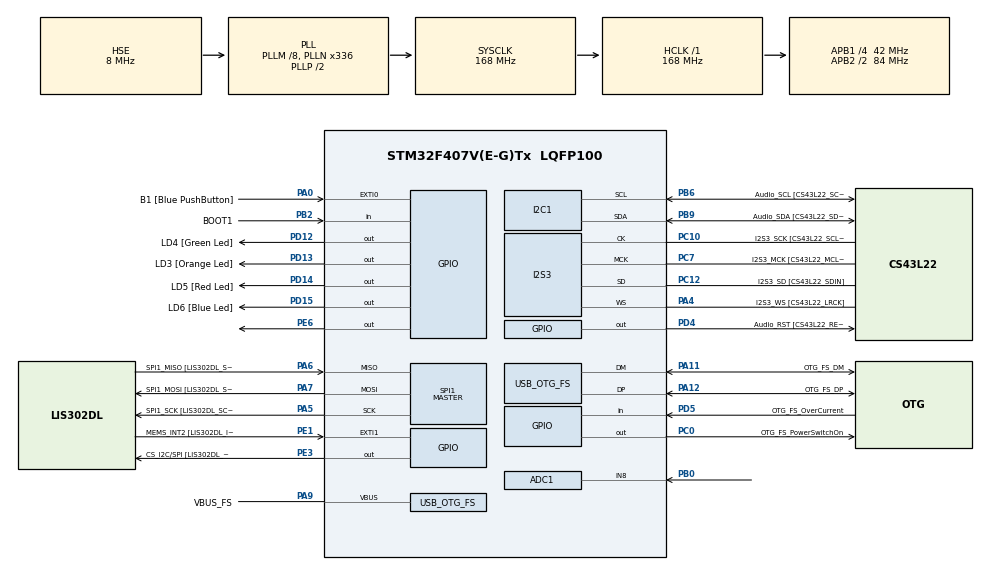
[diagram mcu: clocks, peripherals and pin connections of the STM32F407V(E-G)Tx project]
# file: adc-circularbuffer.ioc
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ADC1.Channel-0\#ChannelRegularConversion=ADC_CHANNEL_8
ADC1.Channel-1\#ChannelRegularConversion=ADC_CHANNEL_8
ADC1.ContinuousConvMode=DISABLE
ADC1.DMAContinuousRequests=ENABLE
ADC1.DiscontinuousConvMode=DISABLE
ADC1.ExternalTrigConv=ADC_EXTERNALTRIGCONV_T3_TRGO
ADC1.NbrOfConversion=2
ADC1.NbrOfConversionFlag=1
ADC1.Rank-0\#ChannelRegularConversion=1
ADC1.Rank-1\#ChannelRegularConversion=2
ADC1.SamplingTime-0\#ChannelRegularConversion=ADC_SAMPLETIME_56CYCLES
ADC1.SamplingTime-1\#ChannelRegularConversion=ADC_SAMPLETIME_56CYCLES
ADC1.ScanConvMode=ENABLE
ADC1.master=1
Dma.ADC1.0.Direction=DMA_PERIPH_TO_MEMORY
Dma.ADC1.0.FIFOMode=DMA_FIFOMODE_DISABLE
Dma.ADC1.0.Instance=DMA2_Stream0
Dma.ADC1.0.MemDataAlignment=DMA_MDATAALIGN_HALFWORD
Dma.ADC1.0.MemInc=DMA_MINC_ENABLE
Dma.ADC1.0.Mode=DMA_CIRCULAR
Dma.ADC1.0.PeriphDataAlignment=DMA_PDATAALIGN_HALFWORD
Dma.ADC1.0.PeriphInc=DMA_PINC_DISABLE
Dma.ADC1.0.Priority=DMA_PRIORITY_HIGH
Dma.Request0=ADC1
I2S3.AudioFreq-Half_Duplex_Master=I2S_AUDIOFREQ_96K
I2S3.ErrorAudioFreq=-2.34 %
I2S3.ErrorAudioFreq-Half_Duplex_Master=0.8 %
I2S3.FullDuplexMode=I2S_FULLDUPLEXMODE_DISABLE
I2S3.Instance=SPI$Index
I2S3.RealAudioFreq=93.75 KHz
I2S3.RealAudioFreq-Half_Duplex_Master=96.774 KHz
I2S3.VirtualMode=I2S_MODE_MASTER
Mcu.Family=STM32F4
Mcu.Name=STM32F407V(E-G)Tx
Mcu.Package=LQFP100
NVIC.DMA2_Stream0_IRQn=true\:0\:0\:false\:false\:true\:false\:true\:true
NVIC.OTG_FS_IRQn=true\:0\:0\:false\:false\:true\:true\:true\:true
NVIC.PriorityGroup=NVIC_PRIORITYGROUP_0
PA0-WKUP.GPIO_Label=B1 [Blue PushButton]
PA0-WKUP.GPIO_ModeDefaultEXTI=GPIO_MODE_EVT_RISING
PA0-WKUP.GPIO_PuPd=GPIO_NOPULL
PA0-WKUP.Signal=GPXTI0
PA10.GPIO_Label=OTG_FS_ID
PA10.GPIO_Mode=GPIO_MODE_AF_PP
PA10.GPIO_PuPd=GPIO_NOPULL
PA10.GPIO_Speed=GPIO_SPEED_FREQ_LOW
PA10.Signal=USB_OTG_FS_ID
PA11.GPIO_Label=OTG_FS_DM
PA11.GPIO_Mode=GPIO_MODE_AF_PP
PA11.GPIO_PuPd=GPIO_NOPULL
PA11.GPIO_Speed=GPIO_SPEED_FREQ_LOW
PA11.Mode=Host_Only
PA11.Signal=USB_OTG_FS_DM
PA12.GPIO_Label=OTG_FS_DP
PA12.GPIO_Mode=GPIO_MODE_AF_PP
PA12.GPIO_PuPd=GPIO_NOPULL
PA12.GPIO_Speed=GPIO_SPEED_FREQ_LOW
PA12.Mode=Host_Only
PA12.Signal=USB_OTG_FS_DP
PA13.GPIO_Label=SWDIO
PA13.Mode=Trace_Asynchronous_SW
PA13.Signal=SYS_JTMS-SWDIO
PA14.GPIO_Label=SWCLK
PA14.Mode=Trace_Asynchronous_SW
PA14.Signal=SYS_JTCK-SWCLK
PA4.GPIO_Label=I2S3_WS [CS43L22_LRCK]
PA4.GPIO_Mode=GPIO_MODE_AF_PP
PA4.GPIO_PuPd=GPIO_NOPULL
PA4.GPIO_Speed=GPIO_SPEED_FREQ_LOW
PA4.Mode=Half_Duplex_Master
PA4.Signal=I2S3_WS
PA5.GPIO_Label=SPI1_SCK [LIS302DL_SCL/SPC]
PA5.GPIO_Mode=GPIO_MODE_AF_PP
PA5.GPIO_PuPd=GPIO_NOPULL
PA5.GPIO_Speed=GPIO_SPEED_FREQ_LOW
PA5.Mode=Full_Duplex_Master
PA5.Signal=SPI1_SCK
PA6.GPIO_Label=SPI1_MISO [LIS302DL_SDO]
PA6.GPIO_Mode=GPIO_MODE_AF_PP
PA6.GPIO_PuPd=GPIO_NOPULL
PA6.GPIO_Speed=GPIO_SPEED_FREQ_LOW
PA6.Mode=Full_Duplex_Master
PA6.Signal=SPI1_MISO
PA7.GPIO_Label=SPI1_MOSI [LIS302DL_SDA/SDI/SDO]
PA7.GPIO_Mode=GPIO_MODE_AF_PP
PA7.GPIO_PuPd=GPIO_NOPULL
PA7.GPIO_Speed=GPIO_SPEED_FREQ_LOW
PA7.Mode=Full_Duplex_Master
PA7.Signal=SPI1_MOSI
PA9.GPIO_Label=VBUS_FS
PA9.GPIO_Mode=GPIO_MODE_INPUT
PA9.GPIO_PuPd=GPIO_NOPULL
PA9.Mode=Activate_VBUS
PA9.Signal=USB_OTG_FS_VBUS
PB0.Signal=ADCx_IN8
PB10.GPIO_Label=CLK_IN [MP45DT02_CLK]
PB10.GPIO_Mode=GPIO_MODE_AF_PP
PB10.GPIO_PuPd=GPIO_NOPULL
PB10.GPIO_Speed=GPIO_SPEED_FREQ_LOW
PB10.Signal=I2S2_CK
PB2.GPIO_Label=BOOT1
PB2.GPIO_Mode=GPIO_MODE_INPUT
PB2.GPIO_PuPd=GPIO_NOPULL
PB2.Signal=GPIO_Input
PB3.GPIO_Label=SWO
PB3.Mode=Trace_Asynchronous_SW
PB3.Signal=SYS_JTDO-SWO
PB6.GPIO_Label=Audio_SCL [CS43L22_SCL]
PB6.GPIO_Mode=GPIO_MODE_AF_OD
PB6.GPIO_Pu=GPIO_PULLUP
PB6.GPIO_PuPd=GPIO_NOPULL
PB6.GPIO_Speed=GPIO_SPEED_FREQ_LOW
PB6.Mode=I2C
PB6.Signal=I2C1_SCL
PB9.GPIO_Label=Audio_SDA [CS43L22_SDA]
PB9.GPIO_Mode=GPIO_MODE_AF_OD
PB9.GPIO_Pu=GPIO_PULLUP
PB9.GPIO_PuPd=GPIO_NOPULL
PB9.GPIO_Speed=GPIO_SPEED_FREQ_LOW
PB9.Mode=I2C
PB9.Signal=I2C1_SDA
PC0.GPIO_Label=OTG_FS_PowerSwitchOn
PC0.GPIO_PuPd=GPIO_NOPULL
PC0.GPIO_Speed=GPIO_SPEED_FREQ_LOW
PC0.PinState=GPIO_PIN_SET
PC0.Signal=GPIO_Output
PC10.GPIO_Label=I2S3_SCK [CS43L22_SCLK]
PC10.GPIO_Mode=GPIO_MODE_AF_PP
PC10.GPIO_PuPd=GPIO_NOPULL
PC10.GPIO_Speed=GPIO_SPEED_FREQ_LOW
PC10.Mode=Half_Duplex_Master
PC10.Signal=I2S3_CK
PC12.GPIO_Label=I2S3_SD [CS43L22_SDIN]
PC12.GPIO_Mode=GPIO_MODE_AF_PP
PC12.GPIO_PuPd=GPIO_NOPULL
PC12.GPIO_Speed=GPIO_SPEED_FREQ_LOW
PC12.Mode=Half_Duplex_Master
PC12.Signal=I2S3_SD
PC14-OSC32_IN.GPIO_Label=PC14-OSC32_IN
PC14-OSC32_IN.Mode=LSE-External-Oscillator
PC14-OSC32_IN.Signal=RCC_OSC32_IN
PC15-OSC32_OUT.GPIO_Label=PC15-OSC32_OUT
PC15-OSC32_OUT.Mode=LSE-External-Oscillator
PC15-OSC32_OUT.Signal=RCC_OSC32_OUT
PC3.GPIO_Label=PDM_OUT [MP45DT02_DOUT]
PC3.GPIO_Mode=GPIO_MODE_AF_PP
PC3.GPIO_PuPd=GPIO_NOPULL
PC3.GPIO_Speed=GPIO_SPEED_FREQ_LOW
PC3.Signal=I2S2_SD
PC7.GPIO_Label=I2S3_MCK [CS43L22_MCLK]
PC7.GPIO_Mode=GPIO_MODE_AF_PP
PC7.GPIO_PuPd=GPIO_NOPULL
PC7.GPIO_Speed=GPIO_SPEED_FREQ_LOW
PC7.Mode=Master_Clock_Activated
PC7.Signal=I2S3_MCK
PD12.GPIO_Label=LD4 [Green Led]
PD12.GPIO_PuPd=GPIO_NOPULL
PD12.GPIO_Speed=GPIO_SPEED_FREQ_LOW
PD12.Signal=GPIO_Output
PD13.GPIO_Label=LD3 [Orange Led]
PD13.GPIO_PuPd=GPIO_NOPULL
PD13.GPIO_Speed=GPIO_SPEED_FREQ_LOW
PD13.Signal=GPIO_Output
PD14.GPIO_Label=LD5 [Red Led]
PD14.GPIO_PuPd=GPIO_NOPULL
PD14.GPIO_Speed=GPIO_SPEED_FREQ_LOW
PD14.Signal=GPIO_Output
PD15.GPIO_Label=LD6 [Blue Led]
PD15.GPIO_PuPd=GPIO_NOPULL
PD15.GPIO_Speed=GPIO_SPEED_FREQ_LOW
PD15.Signal=GPIO_Output
PD4.GPIO_Label=Audio_RST [CS43L22_RESET]
PD4.GPIO_PuPd=GPIO_NOPULL
PD4.GPIO_Speed=GPIO_SPEED_FREQ_LOW
PD4.Signal=GPIO_Output
PD5.GPIO_Label=OTG_FS_OverCurrent
PD5.GPIO_Mode=GPIO_MODE_INPUT
PD5.GPIO_PuPd=GPIO_NOPULL
PD5.Signal=GPIO_Input
PE1.GPIO_Label=MEMS_INT2 [LIS302DL_INT2]
PE1.GPIO_ModeDefaultEXTI=GPIO_MODE_EVT_RISING
PE1.GPIO_PuPd=GPIO_NOPULL
PE1.Signal=GPXTI1
PE3.GPIO_Label=CS_I2C/SPI [LIS302DL_CS_I2C/SPI]
PE3.GPIO_PuPd=GPIO_NOPULL
PE3.GPIO_Speed=GPIO_SPEED_FREQ_LOW
PE3.Signal=GPIO_Output
PE6.GPIO_Speed=GPIO_SPEED_FREQ_VERY_HIGH
PE6.Signal=GPIO_Output
PH0-OSC_IN.GPIO_Label=PH0-OSC_IN
PH0-OSC_IN.Mode=HSE-External-Oscillator
PH0-OSC_IN.Signal=RCC_OSC_IN
PH1-OSC_OUT.GPIO_Label=PH1-OSC_OUT
PH1-OSC_OUT.Mode=HSE-External-Oscillator
PH1-OSC_OUT.Signal=RCC_OSC_OUT
ProjectManager.HeapSize=0x200
ProjectManager.StackSize=0x400
ProjectManager.TargetToolchain=STM32CubeIDE
RCC.48MHZClocksFreq_Value=48000000
RCC.AHBFreq_Value=168000000
RCC.APB1CLKDivider=RCC_HCLK_DIV4
RCC.APB1Freq_Value=42000000
RCC.APB1TimFreq_Value=84000000
RCC.APB2CLKDivider=RCC_HCLK_DIV2
RCC.APB2Freq_Value=84000000
RCC.APB2TimFreq_Value=168000000
RCC.CortexFreq_Value=168000000
RCC.HCLKFreq_Value=168000000
RCC.HSE_VALUE=8000000
RCC.HSI_VALUE=16000000
RCC.PLLM=8
RCC.PLLN=336
RCC.PLLQ=7
RCC.SYSCLKFreq_VALUE=168000000
RCC.SYSCLKSource=RCC_SYSCLKSOURCE_PLLCLK
RCC.VCOOutputFreq_Value=336000000
SH.ADCx_IN8.0=ADC1_IN8,IN8
SPI1.BaudRatePrescaler-Full_Duplex_Master=SPI_BAUDRATEPRESCALER_2
SPI1.CalculateBaudRate-Full_Duplex_Master=42.0 MBits/s
SPI1.Direction=SPI_DIRECTION_2LINES
SPI1.Mode=SPI_MODE_MASTER
SPI1.Mode-Full_Duplex_Master=SPI_MODE_MASTER
SPI1.VirtualType=VM_MASTER
TIM3.AutoReloadPreload=TIM_AUTORELOAD_PRELOAD_ENABLE
TIM3.Period=9999
TIM3.Prescaler=84-1
TIM3.TIM_MasterOutputTrigger=TIM_TRGO_UPDATE
USB_HOST.BSP.number=1
USB_HOST.USBH_HandleTypeDef-CDC_FS=hUsbHostFS
USB_HOST.VirtualModeFS=Cdc
USB_HOST0.BSP.STBoard=false
USB_HOST0.BSP.api=Unknown
USB_HOST0.BSP.instance=PC0
USB_HOST0.BSP.ip=GPIO
USB_HOST0.BSP.mode=Output
USB_HOST0.BSP.name=Drive_VBUS_FS
USB_HOST0.BSP.solution=PC0
USB_OTG_FS.VirtualMode=Host_Only
USB_OTG_FS.phy_itface=HCD_PHY_EMBEDDED
VP_TIM3_VS_ClockSourceINT.Mode=Internal
VP_USB_HOST_VS_USB_HOST_CDC_FS.Mode=CDC_FS
board=STM32F407G-DISC1

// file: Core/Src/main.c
/* USER CODE BEGIN Header */
/**
 ******************************************************************************
 * @file           : main.c
 * @brief          : Main program body
 ******************************************************************************
 * @attention
 *
 * Copyright (c) 2025 STMicroelectronics.
 * All rights reserved.
 *
 * This software is licensed under terms that can be found in the LICENSE file
 * in the root directory of this software component.
 * If no LICENSE file comes with this software, it is provided AS-IS.
 *
 ******************************************************************************
 */
/* USER CODE END Header */
#include "main.h"
#include "usb_host.h"

ADC_HandleTypeDef hadc1;
DMA_HandleTypeDef hdma_adc1;

I2C_HandleTypeDef hi2c1;

I2S_HandleTypeDef hi2s3;

SPI_HandleTypeDef hspi1;

TIM_HandleTypeDef htim3;

/* USER CODE BEGIN PV */
#define CIRCULAR_BUFFER_SIZE 64
static uint16_t adcDmaBuffer[2];
static uint16_t convertedAdcValue = 0u;
// Circular buffer structure for storing averaged ADC values
typedef struct {
    uint16_t data[CIRCULAR_BUFFER_SIZE];
    volatile uint16_t head;  // Next write index
    volatile uint16_t tail;  // Next read index
} CircularBuffer;

CircularBuffer adcCircularBuffer;

void CircularBuffer_Init(CircularBuffer *buffer) {
    buffer->head = 0;
    buffer->tail = 0;
}

void CircularBuffer_Write(CircularBuffer *buffer, uint16_t value) {
    buffer->data[buffer->head] = value;
    buffer->head = (uint16_t)(buffer->head + 1) % CIRCULAR_BUFFER_SIZE;
    // If the buffer is full, move the tail pointer (overwriting oldest data)
    if (buffer->head == buffer->tail) {
        buffer->tail = (uint16_t)(buffer->tail + 1) % CIRCULAR_BUFFER_SIZE;
    }
}

int CircularBuffer_Read(CircularBuffer *buffer, uint16_t *value) {
    if (buffer->head == buffer->tail) {
        return 0; // Buffer empty
    }
    *value = buffer->data[buffer->tail];
    buffer->tail = (uint16_t)(buffer->tail + 1) % CIRCULAR_BUFFER_SIZE;
    return 1;
}

/* USER CODE END PV */

void SystemClock_Config(void);
static void MX_GPIO_Init(void);
static void MX_DMA_Init(void);
static void MX_I2C1_Init(void);
static void MX_I2S3_Init(void);
static void MX_SPI1_Init(void);
static void MX_ADC1_Init(void);
static void MX_TIM3_Init(void);
void MX_USB_HOST_Process(void);

/* USER CODE BEGIN PFP */
static void processAdcData(uint16_t);
/* USER CODE END PFP */

int main(void)
{

  /* MCU Configuration--------------------------------------------------------*/

  /* Reset of all peripherals, Initializes the Flash interface and the Systick. */
  HAL_Init();

  /* Configure the system clock */
  SystemClock_Config();

  /* Initialize all configured peripherals */
  MX_GPIO_Init();
  MX_DMA_Init();
  MX_I2C1_Init();
  MX_I2S3_Init();
  MX_SPI1_Init();
  MX_USB_HOST_Init();
  MX_ADC1_Init();
  MX_TIM3_Init();
  /* USER CODE BEGIN 2 */
  HAL_TIM_Base_Start(&htim3);

  HAL_ADC_Start_DMA(&hadc1, (uint32_t*) adcDmaBuffer, 2);
  /* USER CODE END 2 */

  /* Infinite loop */
  while (1) {
    MX_USB_HOST_Process();

    /* USER CODE BEGIN 3 */
    uint16_t myValue = 0u;
    if (CircularBuffer_Read(&adcCircularBuffer, &myValue)) {
      processAdcData(myValue);
    }
  }
  /* USER CODE END 3 */
}

void SystemClock_Config(void)
{
  RCC_OscInitTypeDef RCC_OscInitStruct = {0};
  RCC_ClkInitTypeDef RCC_ClkInitStruct = {0};

  /** Configure the main internal regulator output voltage
  */
  __HAL_RCC_PWR_CLK_ENABLE();
  __HAL_PWR_VOLTAGESCALING_CONFIG(PWR_REGULATOR_VOLTAGE_SCALE1);

  /** Initializes the RCC Oscillators according to the specified parameters
  * in the RCC_OscInitTypeDef structure.
  */
  RCC_OscInitStruct.OscillatorType = RCC_OSCILLATORTYPE_HSE;
  RCC_OscInitStruct.HSEState = RCC_HSE_ON;
  RCC_OscInitStruct.PLL.PLLState = RCC_PLL_ON;
  RCC_OscInitStruct.PLL.PLLSource = RCC_PLLSOURCE_HSE;
  RCC_OscInitStruct.PLL.PLLM = 8;
  RCC_OscInitStruct.PLL.PLLN = 336;
  RCC_OscInitStruct.PLL.PLLP = RCC_PLLP_DIV2;
  RCC_OscInitStruct.PLL.PLLQ = 7;
  if (HAL_RCC_OscConfig(&RCC_OscInitStruct) != HAL_OK)
  {
    Error_Handler();
  }

  /** Initializes the CPU, AHB and APB buses clocks
  */
  RCC_ClkInitStruct.ClockType = RCC_CLOCKTYPE_HCLK|RCC_CLOCKTYPE_SYSCLK
                              |RCC_CLOCKTYPE_PCLK1|RCC_CLOCKTYPE_PCLK2;
  RCC_ClkInitStruct.SYSCLKSource = RCC_SYSCLKSOURCE_PLLCLK;
  RCC_ClkInitStruct.AHBCLKDivider = RCC_SYSCLK_DIV1;
  RCC_ClkInitStruct.APB1CLKDivider = RCC_HCLK_DIV4;
  RCC_ClkInitStruct.APB2CLKDivider = RCC_HCLK_DIV2;

  if (HAL_RCC_ClockConfig(&RCC_ClkInitStruct, FLASH_LATENCY_5) != HAL_OK)
  {
    Error_Handler();
  }
}

static void MX_ADC1_Init(void)
{

  ADC_ChannelConfTypeDef sConfig = {0};

  /** Configure the global features of the ADC (Clock, Resolution, Data Alignment and number of conversion)
  */
  hadc1.Instance = ADC1;
  hadc1.Init.ClockPrescaler = ADC_CLOCK_SYNC_PCLK_DIV4;
  hadc1.Init.Resolution = ADC_RESOLUTION_12B;
  hadc1.Init.ScanConvMode = ENABLE;
  hadc1.Init.ContinuousConvMode = DISABLE;
  hadc1.Init.DiscontinuousConvMode = DISABLE;
  hadc1.Init.ExternalTrigConvEdge = ADC_EXTERNALTRIGCONVEDGE_RISING;
  hadc1.Init.ExternalTrigConv = ADC_EXTERNALTRIGCONV_T3_TRGO;
  hadc1.Init.DataAlign = ADC_DATAALIGN_RIGHT;
  hadc1.Init.NbrOfConversion = 2;
  hadc1.Init.DMAContinuousRequests = ENABLE;
  hadc1.Init.EOCSelection = ADC_EOC_SINGLE_CONV;
  if (HAL_ADC_Init(&hadc1) != HAL_OK)
  {
    Error_Handler();
  }

  /** Configure for the selected ADC regular channel its corresponding rank in the sequencer and its sample time.
  */
  sConfig.Channel = ADC_CHANNEL_8;
  sConfig.Rank = 1;
  sConfig.SamplingTime = ADC_SAMPLETIME_56CYCLES;
  if (HAL_ADC_ConfigChannel(&hadc1, &sConfig) != HAL_OK)
  {
    Error_Handler();
  }

  /** Configure for the selected ADC regular channel its corresponding rank in the sequencer and its sample time.
  */
  sConfig.Rank = 2;
  if (HAL_ADC_ConfigChannel(&hadc1, &sConfig) != HAL_OK)
  {
    Error_Handler();
  }

}

static void MX_I2C1_Init(void)
{

  hi2c1.Instance = I2C1;
  hi2c1.Init.ClockSpeed = 100000;
  hi2c1.Init.DutyCycle = I2C_DUTYCYCLE_2;
  hi2c1.Init.OwnAddress1 = 0;
  hi2c1.Init.AddressingMode = I2C_ADDRESSINGMODE_7BIT;
  hi2c1.Init.DualAddressMode = I2C_DUALADDRESS_DISABLE;
  hi2c1.Init.OwnAddress2 = 0;
  hi2c1.Init.GeneralCallMode = I2C_GENERALCALL_DISABLE;
  hi2c1.Init.NoStretchMode = I2C_NOSTRETCH_DISABLE;
  if (HAL_I2C_Init(&hi2c1) != HAL_OK)
  {
    Error_Handler();
  }

}

static void MX_I2S3_Init(void)
{

  hi2s3.Instance = SPI3;
  hi2s3.Init.Mode = I2S_MODE_MASTER_TX;
  hi2s3.Init.Standard = I2S_STANDARD_PHILIPS;
  hi2s3.Init.DataFormat = I2S_DATAFORMAT_16B;
  hi2s3.Init.MCLKOutput = I2S_MCLKOUTPUT_ENABLE;
  hi2s3.Init.AudioFreq = I2S_AUDIOFREQ_96K;
  hi2s3.Init.CPOL = I2S_CPOL_LOW;
  hi2s3.Init.ClockSource = I2S_CLOCK_PLL;
  hi2s3.Init.FullDuplexMode = I2S_FULLDUPLEXMODE_DISABLE;
  if (HAL_I2S_Init(&hi2s3) != HAL_OK)
  {
    Error_Handler();
  }

}

static void MX_SPI1_Init(void)
{

  /* SPI1 parameter configuration*/
  hspi1.Instance = SPI1;
  hspi1.Init.Mode = SPI_MODE_MASTER;
  hspi1.Init.Direction = SPI_DIRECTION_2LINES;
  hspi1.Init.DataSize = SPI_DATASIZE_8BIT;
  hspi1.Init.CLKPolarity = SPI_POLARITY_LOW;
  hspi1.Init.CLKPhase = SPI_PHASE_1EDGE;
  hspi1.Init.NSS = SPI_NSS_SOFT;
  hspi1.Init.BaudRatePrescaler = SPI_BAUDRATEPRESCALER_2;
  hspi1.Init.FirstBit = SPI_FIRSTBIT_MSB;
  hspi1.Init.TIMode = SPI_TIMODE_DISABLE;
  hspi1.Init.CRCCalculation = SPI_CRCCALCULATION_DISABLE;
  hspi1.Init.CRCPolynomial = 10;
  if (HAL_SPI_Init(&hspi1) != HAL_OK)
  {
    Error_Handler();
  }

}

static void MX_TIM3_Init(void)
{

  TIM_ClockConfigTypeDef sClockSourceConfig = {0};
  TIM_MasterConfigTypeDef sMasterConfig = {0};

  htim3.Instance = TIM3;
  htim3.Init.Prescaler = 84-1;
  htim3.Init.CounterMode = TIM_COUNTERMODE_UP;
  htim3.Init.Period = 9999;
  htim3.Init.ClockDivision = TIM_CLOCKDIVISION_DIV1;
  htim3.Init.AutoReloadPreload = TIM_AUTORELOAD_PRELOAD_ENABLE;
  if (HAL_TIM_Base_Init(&htim3) != HAL_OK)
  {
    Error_Handler();
  }
  sClockSourceConfig.ClockSource = TIM_CLOCKSOURCE_INTERNAL;
  if (HAL_TIM_ConfigClockSource(&htim3, &sClockSourceConfig) != HAL_OK)
  {
    Error_Handler();
  }
  sMasterConfig.MasterOutputTrigger = TIM_TRGO_UPDATE;
  sMasterConfig.MasterSlaveMode = TIM_MASTERSLAVEMODE_DISABLE;
  if (HAL_TIMEx_MasterConfigSynchronization(&htim3, &sMasterConfig) != HAL_OK)
  {
    Error_Handler();
  }

}

static void MX_DMA_Init(void)
{

  /* DMA controller clock enable */
  __HAL_RCC_DMA2_CLK_ENABLE();

  /* DMA interrupt init */
  /* DMA2_Stream0_IRQn interrupt configuration */
  HAL_NVIC_SetPriority(DMA2_Stream0_IRQn, 0, 0);
  HAL_NVIC_EnableIRQ(DMA2_Stream0_IRQn);

}

static void MX_GPIO_Init(void)
{
  GPIO_InitTypeDef GPIO_InitStruct = {0};

  /* GPIO Ports Clock Enable */
  __HAL_RCC_GPIOE_CLK_ENABLE();
  __HAL_RCC_GPIOC_CLK_ENABLE();
  __HAL_RCC_GPIOH_CLK_ENABLE();
  __HAL_RCC_GPIOA_CLK_ENABLE();
  __HAL_RCC_GPIOB_CLK_ENABLE();
  __HAL_RCC_GPIOD_CLK_ENABLE();

  /*Configure GPIO pin Output Level */
  HAL_GPIO_WritePin(GPIOE, CS_I2C_SPI_Pin|GPIO_PIN_6, GPIO_PIN_RESET);

  /*Configure GPIO pin Output Level */
  HAL_GPIO_WritePin(OTG_FS_PowerSwitchOn_GPIO_Port, OTG_FS_PowerSwitchOn_Pin, GPIO_PIN_SET);

  /*Configure GPIO pin Output Level */
  HAL_GPIO_WritePin(GPIOD, LD4_Pin|LD3_Pin|LD5_Pin|LD6_Pin
                          |Audio_RST_Pin, GPIO_PIN_RESET);

  /*Configure GPIO pin : CS_I2C_SPI_Pin */
  GPIO_InitStruct.Pin = CS_I2C_SPI_Pin;
  GPIO_InitStruct.Mode = GPIO_MODE_OUTPUT_PP;
  GPIO_InitStruct.Pull = GPIO_NOPULL;
  GPIO_InitStruct.Speed = GPIO_SPEED_FREQ_LOW;
  HAL_GPIO_Init(CS_I2C_SPI_GPIO_Port, &GPIO_InitStruct);

  /*Configure GPIO pin : PE6 */
  GPIO_InitStruct.Pin = GPIO_PIN_6;
  GPIO_InitStruct.Mode = GPIO_MODE_OUTPUT_PP;
  GPIO_InitStruct.Pull = GPIO_NOPULL;
  GPIO_InitStruct.Speed = GPIO_SPEED_FREQ_VERY_HIGH;
  HAL_GPIO_Init(GPIOE, &GPIO_InitStruct);

  /*Configure GPIO pin : OTG_FS_PowerSwitchOn_Pin */
  GPIO_InitStruct.Pin = OTG_FS_PowerSwitchOn_Pin;
  GPIO_InitStruct.Mode = GPIO_MODE_OUTPUT_PP;
  GPIO_InitStruct.Pull = GPIO_NOPULL;
  GPIO_InitStruct.Speed = GPIO_SPEED_FREQ_LOW;
  HAL_GPIO_Init(OTG_FS_PowerSwitchOn_GPIO_Port, &GPIO_InitStruct);

  /*Configure GPIO pin : PDM_OUT_Pin */
  GPIO_InitStruct.Pin = PDM_OUT_Pin;
  GPIO_InitStruct.Mode = GPIO_MODE_AF_PP;
  GPIO_InitStruct.Pull = GPIO_NOPULL;
  GPIO_InitStruct.Speed = GPIO_SPEED_FREQ_LOW;
  GPIO_InitStruct.Alternate = GPIO_AF5_SPI2;
  HAL_GPIO_Init(PDM_OUT_GPIO_Port, &GPIO_InitStruct);

  /*Configure GPIO pin : B1_Pin */
  GPIO_InitStruct.Pin = B1_Pin;
  GPIO_InitStruct.Mode = GPIO_MODE_EVT_RISING;
  GPIO_InitStruct.Pull = GPIO_NOPULL;
  HAL_GPIO_Init(B1_GPIO_Port, &GPIO_InitStruct);

  /*Configure GPIO pin : BOOT1_Pin */
  GPIO_InitStruct.Pin = BOOT1_Pin;
  GPIO_InitStruct.Mode = GPIO_MODE_INPUT;
  GPIO_InitStruct.Pull = GPIO_NOPULL;
  HAL_GPIO_Init(BOOT1_GPIO_Port, &GPIO_InitStruct);

  /*Configure GPIO pin : CLK_IN_Pin */
  GPIO_InitStruct.Pin = CLK_IN_Pin;
  GPIO_InitStruct.Mode = GPIO_MODE_AF_PP;
  GPIO_InitStruct.Pull = GPIO_NOPULL;
  GPIO_InitStruct.Speed = GPIO_SPEED_FREQ_LOW;
  GPIO_InitStruct.Alternate = GPIO_AF5_SPI2;
  HAL_GPIO_Init(CLK_IN_GPIO_Port, &GPIO_InitStruct);

  /*Configure GPIO pins : LD4_Pin LD3_Pin LD5_Pin LD6_Pin
                           Audio_RST_Pin */
  GPIO_InitStruct.Pin = LD4_Pin|LD3_Pin|LD5_Pin|LD6_Pin
                          |Audio_RST_Pin;
  GPIO_InitStruct.Mode = GPIO_MODE_OUTPUT_PP;
  GPIO_InitStruct.Pull = GPIO_NOPULL;
  GPIO_InitStruct.Speed = GPIO_SPEED_FREQ_LOW;
  HAL_GPIO_Init(GPIOD, &GPIO_InitStruct);

  /*Configure GPIO pin : OTG_FS_OverCurrent_Pin */
  GPIO_InitStruct.Pin = OTG_FS_OverCurrent_Pin;
  GPIO_InitStruct.Mode = GPIO_MODE_INPUT;
  GPIO_InitStruct.Pull = GPIO_NOPULL;
  HAL_GPIO_Init(OTG_FS_OverCurrent_GPIO_Port, &GPIO_InitStruct);

  /*Configure GPIO pin : MEMS_INT2_Pin */
  GPIO_InitStruct.Pin = MEMS_INT2_Pin;
  GPIO_InitStruct.Mode = GPIO_MODE_EVT_RISING;
  GPIO_InitStruct.Pull = GPIO_NOPULL;
  HAL_GPIO_Init(MEMS_INT2_GPIO_Port, &GPIO_InitStruct);

}

/* USER CODE BEGIN 4 */
void HAL_ADC_ConvCpltCallback(ADC_HandleTypeDef *hadc) {
  if (hadc->Instance == ADC1) {
    uint32_t sum = (uint32_t) adcDmaBuffer[0] + (uint32_t) adcDmaBuffer[1];
    uint16_t average = (uint16_t) (sum >> 1);

    // Write the averaged value into the circular buffer.
    CircularBuffer_Write(&adcCircularBuffer, average);
    // Do not restart ADC conversion here since it is triggered by the timer update event.
  }
}

static void processAdcData(uint16_t inValue) {
  convertedAdcValue = inValue;
  HAL_GPIO_TogglePin(GPIOE, GPIO_PIN_6);
}
/* USER CODE END 4 */

void Error_Handler(void)
{
  __disable_irq();
  while (1) {
  }
}
